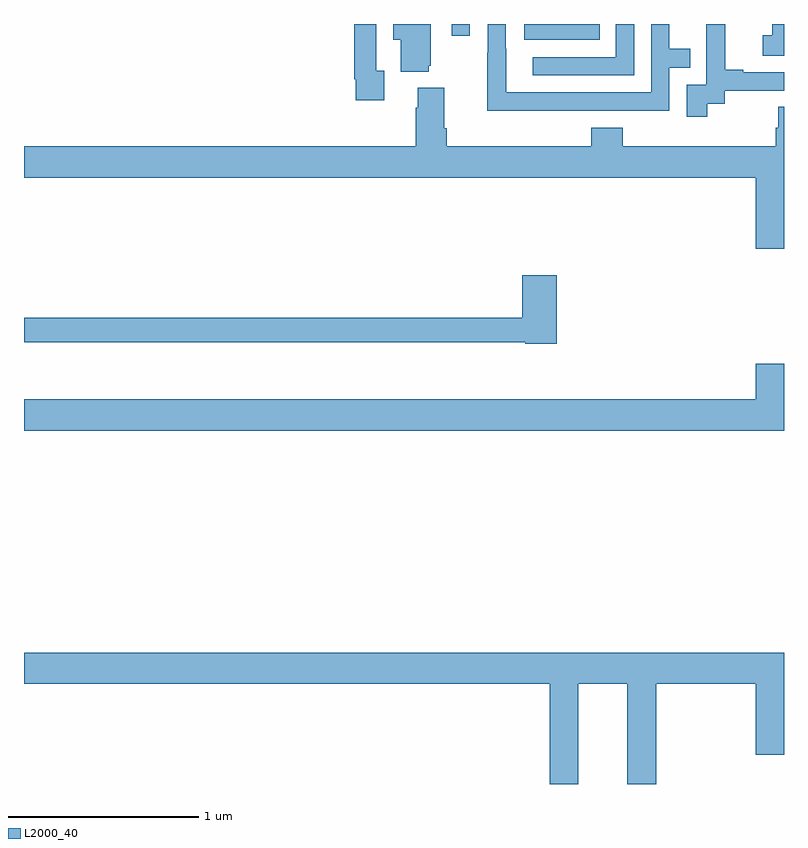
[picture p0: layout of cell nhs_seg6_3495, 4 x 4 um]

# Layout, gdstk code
import gdstk
lib = gdstk.Library(unit=1e-6, precision=1e-09)
def R(c, l, rs):  # rectangles x0, y0, x1, y1
    for r in rs: c.add(gdstk.rectangle(r[:2], r[2:], *l))
def P(c, l, *ps):  # polygons
    for p in ps: c.add(gdstk.Polygon(p, *l))
L2000_40 = (2000, 40)

nhs_seg6_3495 = lib.new_cell('nhs_seg6_3495')
R(nhs_seg6_3495, L2000_40, [(319.634,925.418,320.03,925.5), (319.251,925.437,319.347,925.5)])
P(nhs_seg6_3495, L2000_40, [(319.901,925.044),(320.397,925.044),(320.397,925.269),(320.507,925.269),(320.507,925.37),(320.397,925.37),(320.397,925.5),(320.301,925.5),(320.301,925.14),(319.537,925.14),(319.537,925.37),(319.536,925.37),(319.536,925.5),(319.44,925.5),(319.44,925.349),(319.438,925.349),(319.438,925.043),(319.901,925.043)],
  [(320.596,925.081),(320.688,925.081),(320.688,925.149),(321,925.149),(321,925.245),(320.785,925.245),(320.785,925.258),(320.69,925.258),(320.69,925.5),(320.591,925.5),(320.591,925.409),(320.592,925.409),(320.592,925.179),(320.487,925.179),(320.487,925.011),(320.596,925.011)],
  [(318.895,925.254),(318.855,925.254),(318.855,925.5),(318.739,925.5),(318.739,925.21),(318.747,925.21),(318.747,925.098),(318.895,925.098)],
  [(319.13,925.281),(319.141,925.281),(319.141,925.5),(318.944,925.5),(318.944,925.418),(318.983,925.418),(318.983,925.25),(319.13,925.25)],
  [(321,925.5),(320.938,925.5),(320.938,925.441),(320.889,925.441),(320.889,925.332),(321,925.332)],
  [(320.211,925.5),(320.115,925.5),(320.115,925.326),(319.677,925.326),(319.677,925.23),(320.211,925.23)],
  [(321,925.064),(320.969,925.064),(320.969,924.954),(320.957,924.954),(320.957,924.856),(320.15,924.856),(320.15,924.955),(319.985,924.955),(319.985,924.856),(319.226,924.856),(319.226,924.952),(319.213,924.952),(319.213,925.165),(319.073,925.165),(319.073,925.058),(319.061,925.058),(319.061,924.856),(317,924.856),(317,924.692),(320.852,924.692),(320.852,924.318),(321,924.318)],
  [(319.805,924.178),(319.622,924.178),(319.622,923.954),(317,923.954),(317,923.826),(319.638,923.826),(319.638,923.818),(319.805,923.818)],
  [(321,923.713),(320.852,923.713),(320.852,923.524),(317,923.524),(317,923.36),(321,923.36)],
  [(319.918,922.028),(320.174,922.028),(320.174,921.5),(320.327,921.5),(320.327,922.028),(320.852,922.028),(320.852,921.654),(321,921.654),(321,922.192),(317,922.192),(317,922.028),(319.766,922.028),(319.766,921.5),(319.918,921.5)])

lib.write_gds('nhs_seg6_3495.gds')
